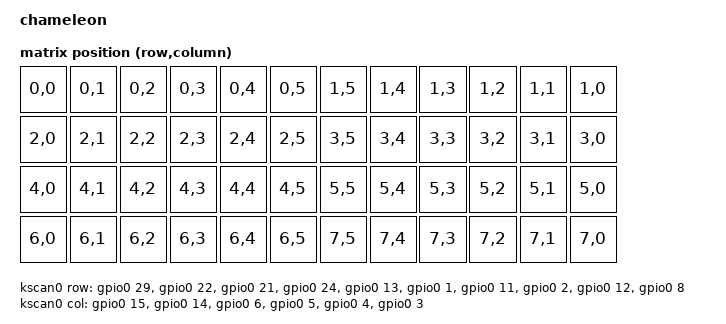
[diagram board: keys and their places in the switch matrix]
/*
 * Copyright (c) 2020 The ZMK Contributors
 *
 * SPDX-License-Identifier: MIT
 */

/dts-v1/;
#include <rpi_pico/rp2040.dtsi>
#include <dt-bindings/zmk/matrix_transform.h>

/ {
    model = "chameleon";
    compatible = "chameleon";

    chosen {
        zephyr,sram = &sram0;
        zephyr,flash = &flash0;
        zephyr,console = &cdc_acm_uart;
        zephyr,shell-uart = &cdc_acm_uart;
        zephyr,code-partition = &code_partition;
        zmk,kscan = &kscan0;
        zmk,matrix_transform = &layout_grid_transform;
    };

    xtal_clk: xtal-clk {
        compatible = "fixed-clock";
        clock-frequency = <12000000>;
        #clock-cells = <0>;
    };

    kscan0: kscan {
        compatible = "zmk,kscan-gpio-matrix";
                diode-direction = "col2row";
        row-gpios
            = <&gpio0 29 (GPIO_ACTIVE_HIGH | GPIO_PULL_DOWN)>
            , <&gpio0 22 (GPIO_ACTIVE_HIGH | GPIO_PULL_DOWN)>
            , <&gpio0 21 (GPIO_ACTIVE_HIGH | GPIO_PULL_DOWN)>
            , <&gpio0 24 (GPIO_ACTIVE_HIGH | GPIO_PULL_DOWN)>
            , <&gpio0 13 (GPIO_ACTIVE_HIGH | GPIO_PULL_DOWN)>
            , <&gpio0 1  (GPIO_ACTIVE_HIGH | GPIO_PULL_DOWN)>
            , <&gpio0 11 (GPIO_ACTIVE_HIGH | GPIO_PULL_DOWN)>
            , <&gpio0 2  (GPIO_ACTIVE_HIGH | GPIO_PULL_DOWN)>
            , <&gpio0 12 (GPIO_ACTIVE_HIGH | GPIO_PULL_DOWN)>
            , <&gpio0 8 (GPIO_ACTIVE_HIGH | GPIO_PULL_DOWN)>
            ;
        col-gpios
            = <&gpio0 15 GPIO_ACTIVE_HIGH>
            , <&gpio0 14 GPIO_ACTIVE_HIGH>
            , <&gpio0 6  GPIO_ACTIVE_HIGH>
            , <&gpio0 5  GPIO_ACTIVE_HIGH>
            , <&gpio0 4  GPIO_ACTIVE_HIGH>
            , <&gpio0 3  GPIO_ACTIVE_HIGH>
            ;
    };

    layout_grid_transform:
        keymap_transform_0 {
            compatible = "zmk,matrix-transform";
            columns = <6>;
            rows = <8>;
            map = <
            RC(0,0) RC(0,1) RC(0,2) RC(0,3) RC(0,4) RC(0,5) RC(1,5) RC(1,4) RC(1,3) RC(1,2) RC(1,1) RC(1,0)
            RC(2,0) RC(2,1) RC(2,2) RC(2,3) RC(2,4) RC(2,5) RC(3,5) RC(3,4) RC(3,3) RC(3,2) RC(3,1) RC(3,0)
            RC(4,0) RC(4,1) RC(4,2) RC(4,3) RC(4,4) RC(4,5) RC(5,5) RC(5,4) RC(5,3) RC(5,2) RC(5,1) RC(5,0)
            RC(6,0) RC(6,1) RC(6,2) RC(6,3) RC(6,4) RC(6,5) RC(7,5) RC(7,4) RC(7,3) RC(7,2) RC(7,1) RC(7,0)
            >;
    };
};

&usbd {
  status = "okay";
  cdc_acm_uart: cdc_acm_uart {
    compatible = "zephyr,cdc-acm-uart";
  };
};



&flash0 {
    reg = <0x10000000 DT_SIZE_M(4)>;

    partitions {
        compatible = "fixed-partitions";
        #address-cells = <1>;
        #size-cells = <1>;

        /* Reserved memory for the second stage bootloader */
        second_stage_bootloader: partition@0 {
            reg = <0x00000000 0x100>;
            read-only;
        };

        /*
         * Usable flash. Starts at 0x100, after the bootloader. The partition
         * size is 16MB minus the 0x100 bytes taken by the bootloader.
         */
        code_partition: partition@100 {
            reg = <0x100 (DT_SIZE_M(4) - 0x100)>;
            read-only;
        };
    };
};

&gpio0 {
    status = "okay";
};

